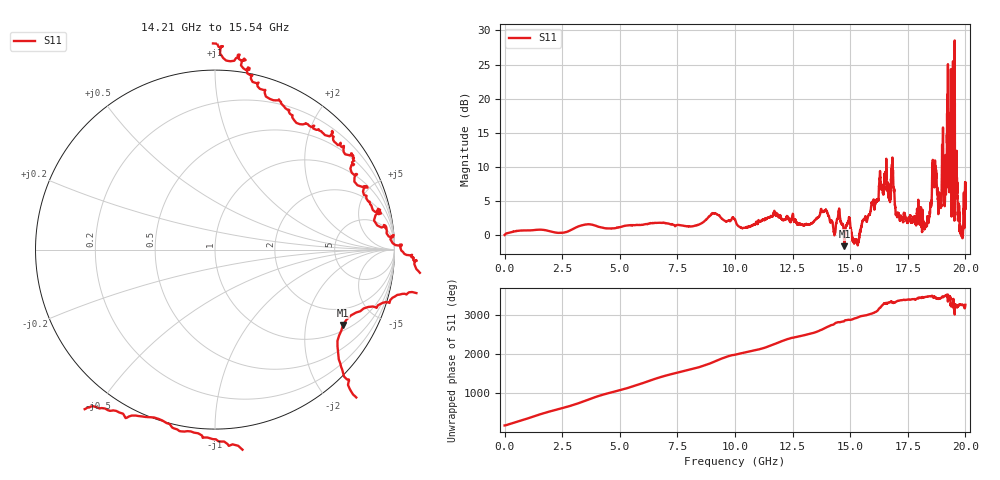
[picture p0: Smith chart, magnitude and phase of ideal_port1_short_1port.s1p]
! Created with skrf 1.8.0 (http://scikit-rf.org).
# GHz S RI R 50.0
!freq ReS11 ImS11
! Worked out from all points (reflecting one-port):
!   10001 points, 1 MHz to 20 GHz, reference 50 ohm
!   lowest |S11| = -1.6 dB at 14.75 GHz (marker M1), VSWR 10.62, Z = 60.7 - j162 ohm
!   phase of S11 starts at 180 deg and turns +3080 deg over the sweep
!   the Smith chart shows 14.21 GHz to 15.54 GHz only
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0.001  -1 0.000152
0.9789511  1.074 -0.1075
2.500875  -0.1471 -1.029
3.478826  0.094 1.187
5.00075  1.14 -0.00271
5.954702  -1.174 0.1795
6.468677  0.1506 -1.212
7.500625  0.0344 1.184
8.258587  -1.117 -0.3513
9.086546  1.441 0.1123
10.0005  -1.3 -0.108
11.22844  1.286 -0.1768
11.71441  -0.1824 1.463
12.50038  -0.2238 -1.338
13.71431  -0.0972 1.497
14.0223  -1.43 0.0563
14.75026  0.7132 -0.4205
15.00025  1.197 -0.1622
15.73221  -0.6479 1.091
16.24619  0.3205 -2.17
16.55217  1.34 2.537
17.50013  -1.11 0.5742
18.59207  -2.968 -1.537
18.85406  -2.005 0.00248
19.13804  -1.396 -3.603
19.25004  -4.126 -0.8842
19.39803  1.335 0.2862
20  1.462 0.5296
